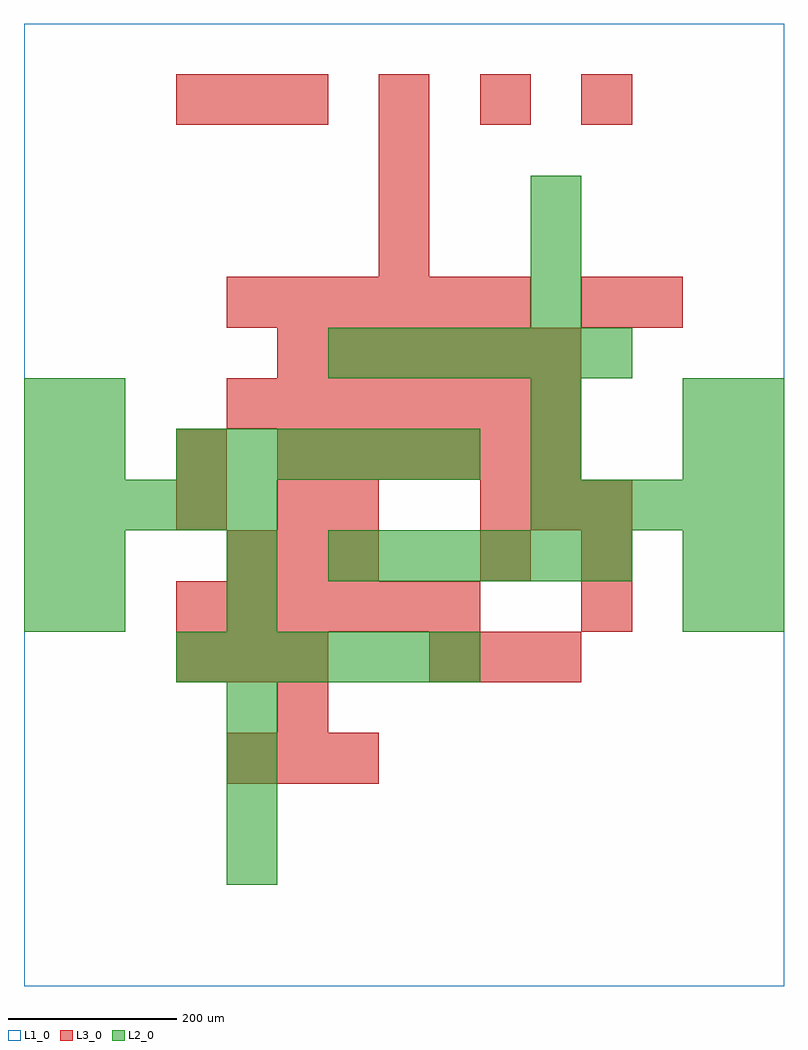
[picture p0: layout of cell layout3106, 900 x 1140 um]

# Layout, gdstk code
import gdstk
lib = gdstk.Library(unit=1e-6, precision=1e-09)
def R(c, l, rs):  # rectangles x0, y0, x1, y1
    for r in rs: c.add(gdstk.rectangle(r[:2], r[2:], *l))
def A(c, l, x, y, w, h, nx, ny, dx, dy):  # array of equal rectangles
    R(c, l, [(x+i*dx, y+j*dy, x+i*dx+w, y+j*dy+h) for i in range(nx) for j in range(ny)])
L1_0 = (1, 0)
L2_0 = (2, 0)
L3_0 = (3, 0)

layout3106 = lib.new_cell('layout3106')
R(layout3106, L1_0, [(0,0,900,1140)])
A(layout3106, L2_0, 240, 120, 60, 60, 1, 4, 0, 60)
A(layout3106, L2_0, 180, 360, 60, 60, 6, 2, 60, 240)
A(layout3106, L2_0, 360, 480, 60, 60, 6, 2, 60, 240)
A(layout3106, L2_0, 0, 540, 60, 60, 5, 1, 60, 0)
A(layout3106, L2_0, 600, 540, 60, 60, 5, 1, 60, 0)
A(layout3106, L2_0, 600, 780, 60, 60, 1, 3, 0, 60)
R(layout3106, L2_0, [(0,420,60,480), (60,420,120,480), (240,420,300,480), (780,420,840,480), (840,420,900,480), (0,480,60,540), (60,480,120,540), (240,480,300,540), (780,480,840,540), (840,480,900,540), (0,600,60,660), (60,600,120,660), (600,600,660,660), (780,600,840,660), (840,600,900,660), (0,660,60,720), (60,660,120,720), (600,660,660,720), (780,660,840,720), (840,660,900,720)])
A(layout3106, L3_0, 240, 240, 60, 60, 3, 2, 60, 240)
A(layout3106, L3_0, 180, 360, 60, 60, 3, 2, 60, 660)
A(layout3106, L3_0, 480, 360, 60, 60, 3, 1, 60, 0)
A(layout3106, L3_0, 180, 420, 60, 60, 6, 1, 60, 0)
A(layout3106, L3_0, 540, 540, 60, 60, 3, 1, 60, 0)
A(layout3106, L3_0, 300, 600, 60, 60, 6, 2, 60, 120)
A(layout3106, L3_0, 240, 660, 60, 60, 7, 1, 60, 0)
A(layout3106, L3_0, 240, 780, 60, 60, 6, 1, 60, 0)
A(layout3106, L3_0, 420, 840, 60, 60, 1, 3, 0, 60)
A(layout3106, L3_0, 420, 1020, 60, 60, 3, 1, 120, 0)
R(layout3106, L3_0, [(300,300,360,360), (660,420,720,480), (540,480,600,540), (660,480,720,540), (180,540,240,600), (300,540,360,600), (360,540,420,600), (180,600,240,660), (660,780,720,840), (720,780,780,840)])

lib.write_gds('layout3106.gds')
